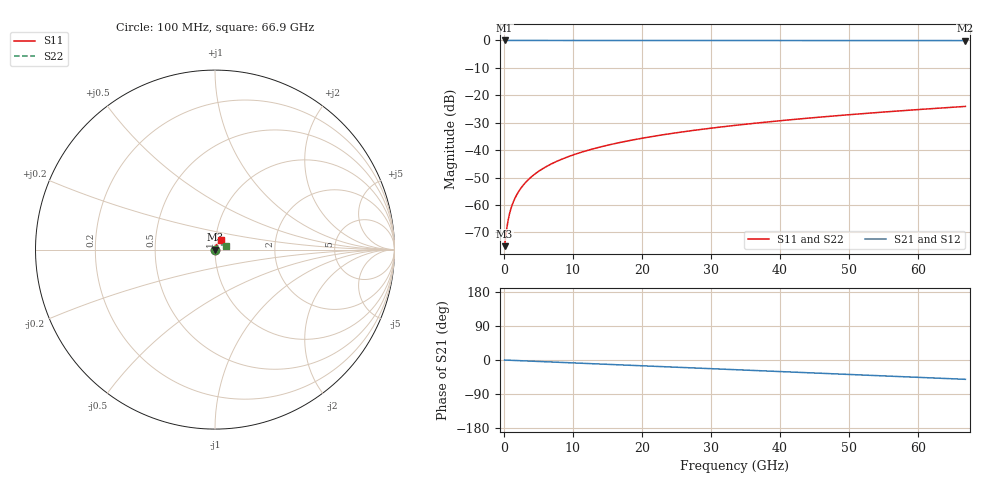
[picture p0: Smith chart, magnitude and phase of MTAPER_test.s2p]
! Created with skrf (http://scikit-rf.org).
# Hz S RI R 50.0
!freq ReS11 ImS11 ReS21 ImS21 ReS12 ImS12 ReS22 ImS22
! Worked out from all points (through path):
!   669 points, 100 MHz to 66.9 GHz, reference 50 ohm
!   highest |S21| = 0.00 dB at 100 MHz (marker M1); lowest = 0.0 dB at 66.9 GHz (marker M2)
!   group delay of S21, straight-line fit = 2.12 ps
!   lowest |S11| = -75.1 dB at 100 MHz (marker M3), VSWR 1.00, Z = 50 + j0.0081 ohm
!   |S11| at or under -10 dB: start of sweep to end of sweep
!   |S22| runs from -75.1 to -24.0 dB; largest |S21 - S12| = 1.2e-10
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1e8  0.000157 8.1e-05  0.9998 -0.00133  0.9998 -0.00133  0.000157 8.09e-05
3e8  0.000162 0.000243  0.9998 -0.00399  0.9998 -0.00399  0.000163 0.000243
5e8  0.000168 0.000405  0.9998 -0.00664  0.9998 -0.00664  0.00017 0.000404
7e8  0.000195 0.000566  0.9997 -0.0093  0.9997 -0.0093  0.0002 0.000566
9e8  0.000223 0.000728  0.9997 -0.012  0.9997 -0.012  0.00023 0.000727
1.2e9  0.000252 0.00097  0.9996 -0.0159  0.9996 -0.0159  0.000264 0.000969
1.6e9  0.000282 0.00129  0.9995 -0.0213  0.9995 -0.0213  0.000305 0.00129
2e9  0.000315 0.00162  0.9993 -0.0266  0.9993 -0.0266  0.000351 0.00161
2.5e9  0.000359 0.00202  0.999 -0.0332  0.999 -0.0332  0.000414 0.00201
3e9  0.000406 0.00242  0.9987 -0.0398  0.9987 -0.0398  0.000486 0.00241
3.7e9  0.000477 0.00298  0.9983 -0.0491  0.9983 -0.0491  0.000598 0.00297
4.4e9  0.000554 0.00355  0.9977 -0.0584  0.9977 -0.0584  0.000726 0.00353
6.2e9  0.000744 0.00499  0.9959 -0.0822  0.9959 -0.0822  0.00108 0.00495
8.5e9  0.00102 0.00684  0.9927 -0.1126  0.9927 -0.1126  0.00166 0.00675
1.13e10  0.00144 0.00909  0.9877 -0.1494  0.9877 -0.1494  0.00256 0.00889
1.62e10  0.00237 0.013  0.9756 -0.2133  0.9756 -0.2133  0.00464 0.0125
2.24e10  0.00401 0.018  0.9544 -0.2928  0.9544 -0.2928  0.00824 0.0166
2.76e10  0.0058 0.0222  0.9316 -0.3579  0.9316 -0.3579  0.012 0.0197
3.35e10  0.00833 0.027  0.9003 -0.4297  0.9003 -0.4297  0.0172 0.0226
4.47e10  0.0148 0.0359  0.8259 -0.5581  0.8259 -0.5581  0.0291 0.0259
5.58e10  0.0236 0.0443  0.734 -0.673  0.734 -0.673  0.0433 0.0259
6.69e10  0.0351 0.0519  0.6262 -0.7729  0.6262 -0.7729  0.0589 0.0219
